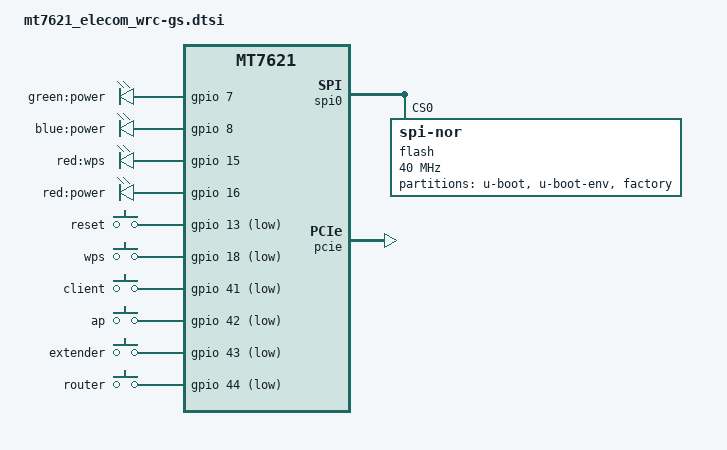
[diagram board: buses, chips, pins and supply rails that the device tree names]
// SPDX-License-Identifier: GPL-2.0-only

#include "mt7621.dtsi"

#include <dt-bindings/gpio/gpio.h>
#include <dt-bindings/input/input.h>

/ {
	aliases {
		led-boot = &led_power_green;
		led-failsafe = &led_power_green;
		led-running = &led_power_green;
		led-upgrade = &led_power_green;
		label-mac-device = &wan;
	};

	leds: leds {
		compatible = "gpio-leds";

		led_power_green: power_green {
			label = "green:power";
			gpios = <&gpio 7 GPIO_ACTIVE_HIGH>;
		};

		power_blue {
			label = "blue:power";
			gpios = <&gpio 8 GPIO_ACTIVE_HIGH>;
		};

		wps {
			label = "red:wps";
			gpios = <&gpio 15 GPIO_ACTIVE_HIGH>;
		};

		power_red {
			label = "red:power";
			gpios = <&gpio 16 GPIO_ACTIVE_HIGH>;
		};
	};

	keys {
		compatible = "gpio-keys";

		reset {
			label = "reset";
			gpios = <&gpio 13 GPIO_ACTIVE_LOW>;
			linux,code = <KEY_RESTART>;
		};

		wps {
			label = "wps";
			gpios = <&gpio 18 GPIO_ACTIVE_LOW>;
			linux,code = <KEY_WPS_BUTTON>;
		};

		client {
			label = "client";
			gpios = <&gpio 41 GPIO_ACTIVE_LOW>;
			linux,code = <BTN_0>;
			linux,input-type = <EV_SW>;
		};

		ap {
			label = "ap";
			gpios = <&gpio 42 GPIO_ACTIVE_LOW>;
			linux,code = <BTN_0>;
			linux,input-type = <EV_SW>;
		};

		extender {
			label = "extender";
			gpios = <&gpio 43 GPIO_ACTIVE_LOW>;
			linux,code = <BTN_0>;
			linux,input-type = <EV_SW>;
		};

		router {
			label = "router";
			gpios = <&gpio 44 GPIO_ACTIVE_LOW>;
			linux,code = <BTN_0>;
			linux,input-type = <EV_SW>;
		};
	};
};

&switch0 {
	ports {
		wan: port@0 {
			status = "okay";
			label = "wan";
		};

		port@1 {
			status = "okay";
			label = "lan4";
		};

		port@2 {
			status = "okay";
			label = "lan3";
		};

		port@3 {
			status = "okay";
			label = "lan2";
		};

		port@4 {
			status = "okay";
			label = "lan1";
		};
	};
};

&spi0 {
	status = "okay";

	flash@0 {
		compatible = "jedec,spi-nor";
		reg = <0>;
		spi-max-frequency = <40000000>;

		partitions: partitions {
			compatible = "fixed-partitions";
			#address-cells = <1>;
			#size-cells = <1>;

			partition@0 {
				label = "u-boot";
				reg = <0x0 0x30000>;
				read-only;
			};

			partition@30000 {
				label = "u-boot-env";
				reg = <0x30000 0x10000>;
				read-only;
			};

			factory: partition@40000 {
				label = "factory";
				reg = <0x40000 0x10000>;
				read-only;
			};
		};
	};
};

&pcie {
	status = "okay";
};

&xhci {
	status = "disabled";
};
